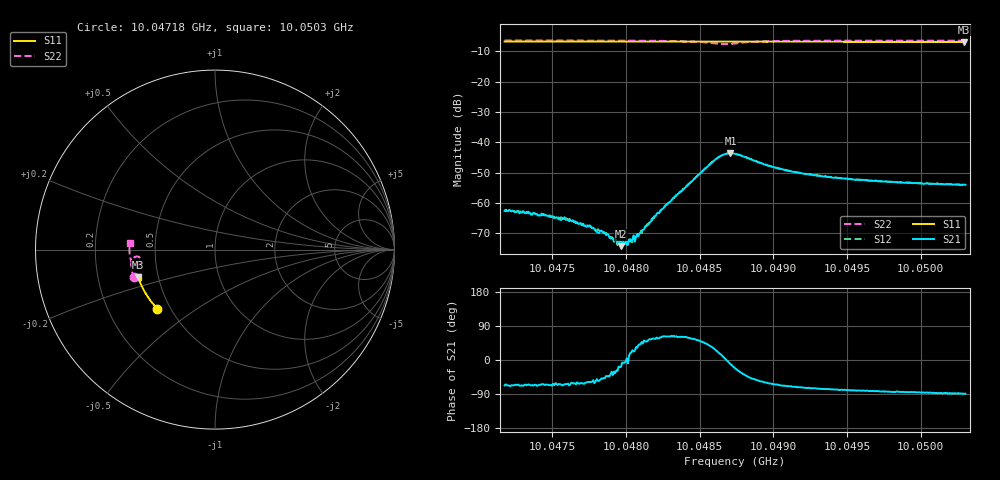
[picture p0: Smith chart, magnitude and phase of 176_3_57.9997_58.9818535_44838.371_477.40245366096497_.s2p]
#  HZ  S  RI  R  50.00
! Rohde & Schwarz Vector Network Analyzer
! Rohde-Schwarz,ZNB20-2Port,1311601062101988,3.16
! Created: UTC 3/21/2024, 12:58:09 AM
! freq[Hz]  re:S11  im:S11  re:S21  im:S21  re:S12  im:S12  re:S22  im:S22
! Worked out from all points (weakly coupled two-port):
!   401 points, 10.04718 GHz to 10.0503 GHz, reference 50 ohm
!   highest |S21| = -43.60 dB at 10.04871 GHz (marker M1); lowest = -74.2 dB at 10.04797 GHz (marker M2)
!   lowest |S11| = -6.8 dB at 10.0503 GHz (marker M3), VSWR 2.67, Z = 19.2 - j7.52 ohm
!   |S11| at or under -10 dB: nowhere
!   |S22| runs from -7.6 to -6.4 dB; largest |S21 - S12| = 0.00046
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1.0047178e10  -0.3216 -0.3295  0.00029 -0.000684  0.000348 -0.000676  -0.4533 -0.155
1.0047381e10  -0.3309 -0.3196  0.00028 -0.000622  0.000306 -0.0006  -0.4573 -0.1414
1.0047607e10  -0.3408 -0.3082  0.000242 -0.000462  0.00025 -0.000469  -0.4612 -0.1258
1.0047701e10  -0.3447 -0.3036  0.000211 -0.000388  0.000244 -0.000354  -0.4626 -0.1191
1.0047771e10  -0.3477 -0.2998  0.000215 -0.000327  0.000228 -0.000306  -0.4636 -0.1138
1.0047803e10  -0.3489 -0.2983  0.000213 -0.000257  0.000203 -0.000285  -0.4641 -0.1115
1.0047842e10  -0.3505 -0.2961  0.000217 -0.000255  0.000249 -0.000207  -0.4646 -0.1085
1.0047928e10  -0.3541 -0.2917  0.000211 -0.000145  0.000226 -0.000105  -0.4654 -0.1019
1.0047967e10  -0.3557 -0.2896  0.000184 -6.07e-05  0.00021 -3.13e-05  -0.4658 -0.0986
1.0047998e10  -0.3569 -0.2879  0.000228 -1.73e-05  0.000232 1.16e-05  -0.4661 -0.0961
1.0048029e10  -0.3581 -0.2864  0.000239 7.73e-05  0.000242 6.66e-05  -0.4661 -0.0936
1.0048076e10  -0.3601 -0.2838  0.000256 0.000164  0.000241 0.000156  -0.4666 -0.0895
1.0048225e10  -0.3659 -0.2759  0.000366 0.000572  0.0003 0.000607  -0.4664 -0.0758
1.0048592e10  -0.3791 -0.2554  0.00411 0.00257  0.004 0.00281  -0.4297 -0.039
1.0048654e10  -0.381 -0.2521  0.00602 0.00117  0.00599 0.00151  -0.4138 -0.0512
1.0048709e10  -0.3828 -0.2493  0.0065 -0.00117  0.0066 -0.000781  -0.4132 -0.0708
1.004874e10  -0.3839 -0.2477  0.00602 -0.00238  0.00622 -0.00197  -0.4195 -0.0797
1.0049014e10  -0.3934 -0.2323  0.00164 -0.00346  0.00187 -0.00338  -0.4651 -0.066
1.0049264e10  -0.4012 -0.2176  0.00077 -0.0028  0.000936 -0.00277  -0.4732 -0.042
1.0049787e10  -0.4158 -0.1864  0.000249 -0.00222  0.000385 -0.00223  -0.4766 -0.0012
1.0050295e10  -0.4276 -0.155  2.9e-05 -0.00201  0.000163 -0.00199  -0.4756 0.0343
1.0050303e10  -0.4278 -0.1546  3.33e-05 -0.002  0.000159 -0.00202  -0.4754 0.0349
